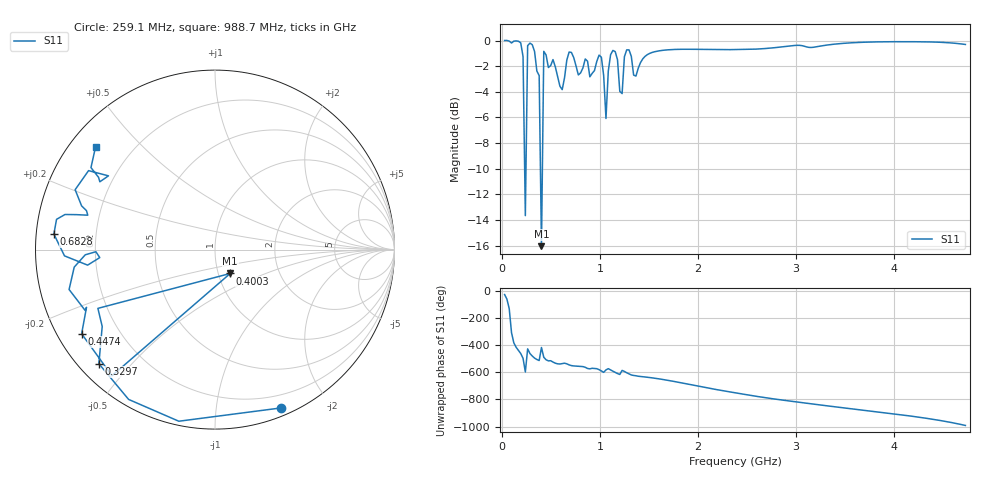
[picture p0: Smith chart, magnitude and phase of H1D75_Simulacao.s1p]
!Keysight Technologies N9923A: A.08.19
!Date: Thursday, 16 January 2020 11:30:00
!TimeZone: (GMT-03:00) Brasilia!Model: N9923A
!Serial: MY51491501
!GPS Latitude:
!GPS Longitude:
!GPS TimeStamp: 0001-01-01 00:00:00Z
!GPS Seconds Since Last Read: 0
!CHECKSUM:1078980270
!Correction: S11(ON U)
!S1P File: Measurement: S11:
# Hz S DB R 50
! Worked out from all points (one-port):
!   201 points, 23.74 MHz to 4.731 GHz, reference 50 ohm
!   lowest |S11| = -16.0 dB at 400.3 MHz (marker M1), VSWR 1.37, Z = 57 - j15.5 ohm
!   |S11| at or under -10 dB: 228.6 MHz to 242.1 MHz (13.43 MHz wide, 5.71 % of centre); 389.6 MHz to 409.7 MHz (20.04 MHz wide, 5.01 % of centre)
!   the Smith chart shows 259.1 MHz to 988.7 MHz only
!   S11 on the Smith chart (normalised r, x): 259.1 MHz: 0.07, -1.50; 329.7 MHz: 0.06, -0.41; 400.3 MHz: 1.14, -0.31; 447.4 MHz: 0.07, -0.29; 682.8 MHz: 0.05, +0.05; 988.7 MHz: 0.07, +0.37
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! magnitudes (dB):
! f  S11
! 23.74 MHz  0.0
! 212 MHz  -1.2
! 235.6 MHz  -13.7
! 259.1 MHz  -0.4
! 329.7 MHz  -0.8
! 376.8 MHz  -2.7
! 400.3 MHz  -16.0
! 423.9 MHz  -0.8
! 447.4 MHz  -1.1
! 612.1 MHz  -3.8
! 682.8 MHz  -0.9
! 894.6 MHz  -2.8
! 988.7 MHz  -1.1
! 1.036 GHz  -2.7
! 1.059 GHz  -6.1
! 1.083 GHz  -2.4
! 1.106 GHz  -1.1
! 1.177 GHz  -1.5
! 1.201 GHz  -4.0
! 1.224 GHz  -4.1
! 1.271 GHz  -0.7
! 1.365 GHz  -2.8
! 1.789 GHz  -0.7
! 2.377 GHz  -0.7
! 2.966 GHz  -0.4
! 3.554 GHz  -0.2
! 4.143 GHz  -0.1
! 4.731 GHz  -0.3
